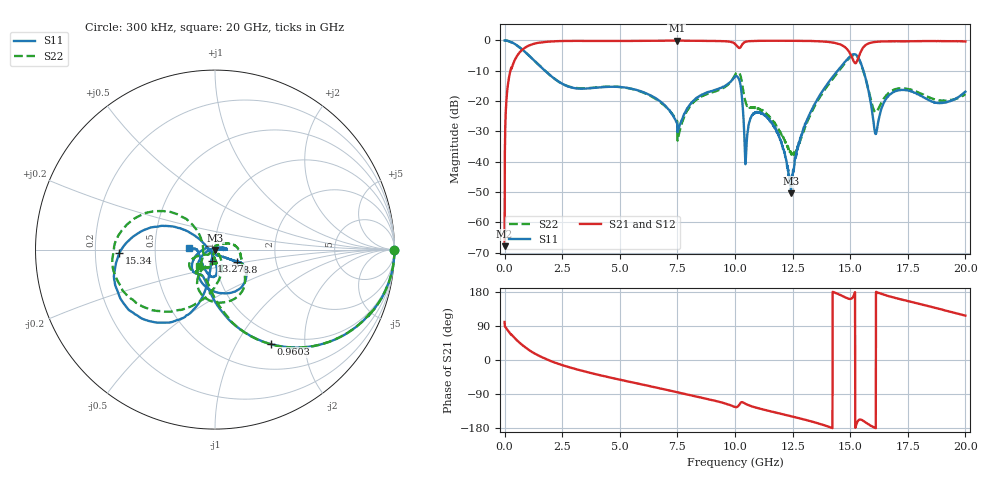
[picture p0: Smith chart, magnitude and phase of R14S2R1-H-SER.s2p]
!{R14S2R1}
!Johanson Technology Inc.
!www.johansontechnology.com
!Test Board Conditions:
!Substrate Type  RO4350B
!Substrate Thickness  20 mil
!Substrate Dk  3.66
!TL Type: GCPW
!TL Trace Width  36 mil
!TL Gap  12 mil
!Electrode orientation  Horizontal
!DUT TOPOLOGY	SERIES
!Mounting Pad LxW  26x36 mil
! Created Wed Nov 25 17:33:21 2020
! 2 Port Network Data from SP1.SP block
! freq  magS11  angS11  magS21  angS21  magS12  angS12  magS22  angS22
# khz S ma R 50
! decimated to every 10th point (10 MHz spacing) of the original 1 MHz Johanson file; values unchanged
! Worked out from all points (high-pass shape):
!   2001 points, 300 kHz to 20 GHz, reference 50 ohm
!   highest |S21| = -0.05 dB at 7.47 GHz (marker M1); lowest = -67.9 dB at 300 kHz (marker M2)
!   |S21| within 3 dB of the highest: 768.4 MHz to 14.89 GHz (14.12 GHz wide, 180 % of centre); 15.5 GHz to end of sweep
!   lowest |S11| = -50.5 dB at 12.43 GHz (marker M3), VSWR 1.01, Z = 50.2 - j0.259 ohm
!   |S11| at or under -10 dB: 1.752 GHz to 14.45 GHz (12.7 GHz wide, 157 % of centre); 15.58 GHz to end of sweep
!   |S22| runs from -37.8 to 0.0 dB; largest |S21 - S12| = 0.014
!   S11 on the Smith chart (normalised r, x): 300 kHz: open; 960.3 MHz: 0.83, -1.40; 8.8 GHz: 1.26, -0.17; 13.27 GHz: 0.96, -0.12; 15.34 GHz: 0.30, -0.02; 20 GHz: 0.75, +0.01
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300  0.997 -0.1  0.0004038 100.3  0.0003563 100.2  0.9963 -0.2
110300  0.9882 -9.2  0.1439 80.6  0.1444 80.6  0.9894 -9.2
190300  0.9683 -15.7  0.2438 74.0  0.2447 74.0  0.9689 -15.7
960300  0.61 -59.5  0.7911 30.4  0.7901 30.4  0.6112 -59.6
3340300  0.1602 -118.3  0.9834 -28.0  0.9835 -28.1  0.1621 -117.4
6670300  0.1041 -164.6  0.989 -74.0  0.9888 -73.9  0.1018 -159.5
7470300  0.04421 166.7  0.9942 -84.7  0.9925 -84.7  0.04805 -144.0
8800300  0.1391 -29.2  0.984 -103.0  0.9833 -102.9  0.1318 -0.1
1.00003e7  0.253 -52.1  0.8778 -124.1  0.8766 -124.1  0.2707 -54.2
1.02303e7  0.1925 -114.2  0.763 -114.1  0.7638 -114.1  0.2687 -103.8
1.04703e7  0.01148 69.2  0.9531 -116.1  0.9516 -116.1  0.09276 -112.3
1.07603e7  0.05978 6.4  0.9807 -123.0  0.9806 -123.0  0.07785 -86.0
1.12903e7  0.05836 -0.4  0.9869 -131.6  0.9866 -131.6  0.06564 -85.7
1.19203e7  0.02576 2.5  0.9892 -140.9  0.9879 -140.9  0.03214 -100.9
1.24303e7  0.002997 -59.3  0.9844 -148.4  0.9872 -148.3  0.01349 -96.7
1.32703e7  0.06482 -106.8  0.9801 -161.3  0.9779 -161.4  0.05925 -57.6
1.33403e7  0.0732 -106.9  0.9767 -162.6  0.9798 -162.6  0.06733 -59.9
1.48403e7  0.4747 -121.4  0.7353 163.6  0.7358 163.3  0.4535 -130.9
1.53403e7  0.5334 -178.1  0.4992 -160.4  0.498 -160.8  0.5157 165.5
1.60903e7  0.0293 -156.1  0.9449 -179.4  0.9459 -179.3  0.06541 177.8
1.66703e7  0.1215 -84.9  0.9686 168.5  0.9648 168.4  0.137 -131.6
2e7  0.1428 177.3  0.9627 117.1  0.9614 117.2  0.1305 -134.4
